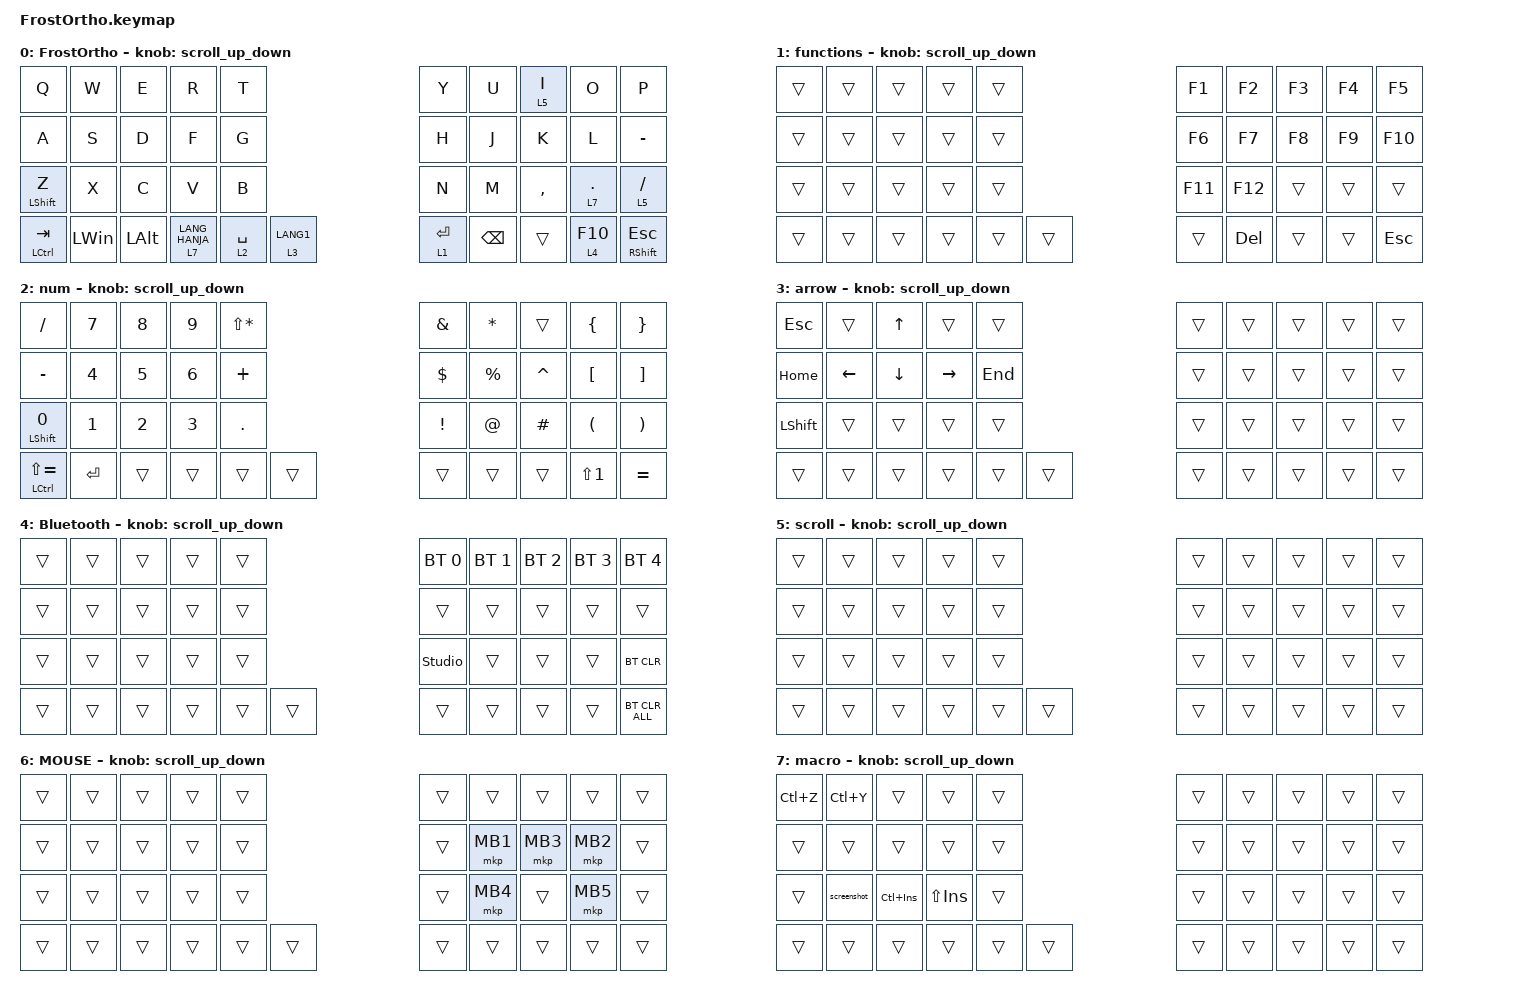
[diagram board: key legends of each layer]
#define ZMK_POINTING_DEFAULT_SCRL_VAL 750

#include <input/processors.dtsi>
#include <dt-bindings/zmk/input_transform.h>
#include <zephyr/dt-bindings/input/input-event-codes.h>
#include <behaviors.dtsi>
#include <dt-bindings/zmk/bt.h>
#include <dt-bindings/zmk/keys.h>
#include <dt-bindings/zmk/outputs.h>
#include <dt-bindings/zmk/pointing.h>

#define MOUSE 6

// AMLから離脱しないキー
&zip_temp_layer {
    require-prior-idle-ms = <400>;
    excluded-positions = <
        16 // J 左クリック
        17 // K 左クリック
        18 // L 左クリック
        20 // Z Shift
        26 // MB4
        28 // MB5
        30 // Control
        32 // Alt
    >;
};

/ {
    input_processors {
        zip_scroll_x_scaler: zip_scroll_x_scaler {
            compatible = "zmk,input-processor-scaler";
            #input-processor-cells = <2>;
            type = <INPUT_EV_REL>;
            codes = <INPUT_REL_HWHEEL>;
            track-remainders;
        };
        zip_scroll_y_scaler: zip_scroll_y_scaler {
            compatible = "zmk,input-processor-scaler";
            #input-processor-cells = <2>;
            type = <INPUT_EV_REL>;
            codes = <INPUT_REL_WHEEL>;
            track-remainders;
        };
    };
};

&trackball_listener {
    compatible = "zmk,input-listener";
    input-processors = <
        &zip_xy_transform INPUT_TRANSFORM_X_INVERT // カーソルの移動方向調整
        &zip_xy_transform INPUT_TRANSFORM_Y_INVERT // カーソルの移動方向調整
        &zip_xy_scaler 3 6 // カーソル移動量3/6倍
        &zip_temp_layer 6 10000
    >;

    scroller_y {
        layers = <5>; // 縦スクロールレイヤー
        input-processors = <
            &zip_scroll_transform (INPUT_TRANSFORM_X_INVERT) // スクロール方向調整
            &zip_xy_to_scroll_mapper
            &zip_scroll_x_scaler 0 3 // X軸スクロール量0/3倍
            &zip_scroll_y_scaler 1 3 // Y軸スクロール量1/3倍
        >;

        process-next;
    };
    scroller_x {
        layers = <7>; // 横スクロールレイヤー
        input-processors = <
            &zip_scroll_transform (INPUT_TRANSFORM_X_INVERT) // スクロール方向調整
            &zip_xy_to_scroll_mapper
            &zip_scroll_x_scaler 1 3 // X軸スクロール量1/3倍
            &zip_scroll_y_scaler 0 3 // Y軸スクロール量0/3倍
        >;

        process-next;
    };
};

&mt {
    flavor = "balanced";
    quick-tap-ms = <0>;
};

// AML クリックしたときにタイムアウトを延長

&mkp_input_listener { input-processors = <&zip_temp_layer 6 10000>; };

/ {
    combos { compatible = "zmk,combos"; };

    macros {
        to_layer_0: to_layer_0 {
            compatible = "zmk,behavior-macro-one-param";
            #binding-cells = <1>;
            bindings = <&to 0 &macro_param_1to1 &kp MACRO_PLACEHOLDER>;
            label = "TO_LAYER_0";
        };

        screenshot: screenshot {
            compatible = "zmk,behavior-macro";
            #binding-cells = <0>;
            bindings =
                <&to 7>,
                <&macro_press>,
                <&kp LEFT_WIN &kp LEFT_SHIFT &kp S>,
                <&macro_release>,
                <&kp LEFT_WIN &kp LEFT_SHIFT &kp S>;

            label = "SCREENSHOT";
        };
    };

    behaviors {
        lt_to_layer_0: lt_to_layer_0 {
            compatible = "zmk,behavior-hold-tap";
            label = "LAYER_TAP_TO_0";
            bindings = <&mo>, <&to_layer_0>;

            #binding-cells = <2>;
            tapping-term-ms = <300>;
        };

        // Kyemap Editor用

        scroll_up_down: behavior_sensor_rotate_mouse_wheel_up_down {
            compatible = "zmk,behavior-sensor-rotate";
            #sensor-binding-cells = <0>;
            tap-ms = <20>;
            bindings = <&msc SCRL_UP>, <&msc SCRL_DOWN>;
        };

        vol_up_down: vol_up_down {
            compatible = "zmk,behavior-sensor-rotate";
            #sensor-binding-cells = <0>;
            tap-ms = <5>;
            bindings = <&kp C_VOL_DN>, <&kp C_VOL_UP>;
        };
    };

    keymap {
        compatible = "zmk,keymap";

        default_layer {
            display-name = "FrostOrtho";
            bindings = <
&kp Q                 &kp W         &kp E         &kp R             &kp T                         &kp Y        &kp U          &lt 5 I    &kp O         &kp P
&kp A                 &kp S         &kp D         &kp F             &kp G                         &kp H        &kp J          &kp K      &kp L         &kp MINUS
&mt LEFT_SHIFT Z      &kp X         &kp C         &kp V             &kp B                         &kp N        &kp M          &kp COMMA  &lt 7 PERIOD  &lt 5 SLASH
&mt LEFT_CONTROL TAB  &kp LEFT_WIN  &kp LEFT_ALT  &lt 7 LANG_HANJA  &lt 2 SPACE  &lt 3 LANG1      &lt 1 ENTER  &kp BACKSPACE  &trans     &lt 4 F10     &mt RIGHT_SHIFT ESC
            >;

            sensor-bindings = <&scroll_up_down>;
        };

        layer_1 {
            display-name = "functions";
            bindings = <
&trans  &trans  &trans  &trans  &trans              &kp F1   &kp F2   &kp F3  &kp F4  &kp F5
&trans  &trans  &trans  &trans  &trans              &kp F6   &kp F7   &kp F8  &kp F9  &kp F10
&trans  &trans  &trans  &trans  &trans              &kp F11  &kp F12  &trans  &trans  &trans
&trans  &trans  &trans  &trans  &trans  &trans      &trans   &kp DEL  &trans  &trans  &kp ESCAPE
            >;

            sensor-bindings = <&scroll_up_down>;
        };

        layer_2 {
            display-name = "num";
            bindings = <
&kp SLASH                   &kp N7     &kp N8  &kp N9  &kp LS(ASTERISK)              &kp AMPERSAND    &kp ASTERISK  &trans     &kp LEFT_BRACE        &kp RIGHT_BRACE
&kp MINUS                   &kp N4     &kp N5  &kp N6  &kp PLUS                      &kp DOLLAR       &kp PERCENT   &kp CARET  &kp LEFT_BRACKET      &kp RIGHT_BRACKET
&mt LEFT_SHIFT N0           &kp N1     &kp N2  &kp N3  &kp PERIOD                    &kp EXCLAMATION  &kp AT_SIGN   &kp POUND  &kp LEFT_PARENTHESIS  &kp RIGHT_PARENTHESIS
&mt LEFT_CONTROL LS(EQUAL)  &kp ENTER  &trans  &trans  &trans            &trans      &trans           &trans        &trans     &kp LS(NUMBER_1)      &kp EQUAL
            >;

            sensor-bindings = <&scroll_up_down>;
        };

        layer_3 {
            display-name = "arrow";
            bindings = <
&kp ESCAPE      &trans          &kp UP_ARROW    &trans           &trans               &trans  &trans  &trans  &trans  &trans
&kp HOME        &kp LEFT_ARROW  &kp DOWN_ARROW  &kp RIGHT_ARROW  &kp END              &trans  &trans  &trans  &trans  &trans
&kp LEFT_SHIFT  &trans          &trans          &trans           &trans               &trans  &trans  &trans  &trans  &trans
&trans          &trans          &trans          &trans           &trans   &trans      &trans  &trans  &trans  &trans  &trans
            >;

            sensor-bindings = <&scroll_up_down>;
        };

        layer_4 {
            display-name = "Bluetooth";
            bindings = <
&trans  &trans  &trans  &trans  &trans              &bt BT_SEL 0    &bt BT_SEL 1  &bt BT_SEL 2  &bt BT_SEL 3  &bt BT_SEL 4
&trans  &trans  &trans  &trans  &trans              &trans          &trans        &trans        &trans        &trans
&trans  &trans  &trans  &trans  &trans              &studio_unlock  &trans        &trans        &trans        &bt BT_CLR
&trans  &trans  &trans  &trans  &trans  &trans      &trans          &trans        &trans        &trans        &bt BT_CLR_ALL
            >;

            sensor-bindings = <&scroll_up_down>;
        };

        layer_5 {
            display-name = "scroll";
            bindings = <
&trans  &trans  &trans  &trans  &trans              &trans  &trans  &trans  &trans  &trans
&trans  &trans  &trans  &trans  &trans              &trans  &trans  &trans  &trans  &trans
&trans  &trans  &trans  &trans  &trans              &trans  &trans  &trans  &trans  &trans
&trans  &trans  &trans  &trans  &trans  &trans      &trans  &trans  &trans  &trans  &trans
            >;

            sensor-bindings = <&scroll_up_down>;
        };

        MOUSE {
            display-name = "MOUSE";
            bindings = <
&trans  &trans  &trans  &trans  &trans              &trans  &trans    &trans    &trans    &trans
&trans  &trans  &trans  &trans  &trans              &trans  &mkp MB1  &mkp MB3  &mkp MB2  &trans
&trans  &trans  &trans  &trans  &trans              &trans  &mkp MB4  &trans    &mkp MB5  &trans
&trans  &trans  &trans  &trans  &trans  &trans      &trans  &trans    &trans    &trans    &trans
            >;

            sensor-bindings = <&scroll_up_down>;
        };

        layer_7 {
            display-name = "macro";
            bindings = <
&kp LC(Z)  &kp LC(Y)    &trans       &trans       &trans              &trans  &trans  &trans  &trans  &trans
&trans     &trans       &trans       &trans       &trans              &trans  &trans  &trans  &trans  &trans
&trans     &screenshot  &kp LC(INS)  &kp LS(INS)  &trans              &trans  &trans  &trans  &trans  &trans
&trans     &trans       &trans       &trans       &trans  &trans      &trans  &trans  &trans  &trans  &trans
            >;

            sensor-bindings = <&scroll_up_down>;
        };
    };
};
